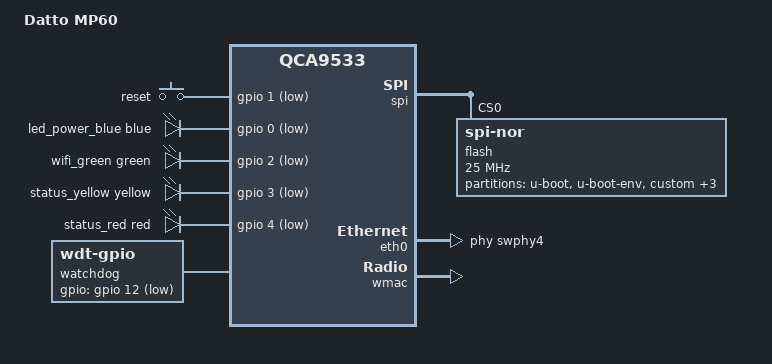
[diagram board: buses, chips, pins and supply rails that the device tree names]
// SPDX-License-Identifier: GPL-2.0-or-later OR MIT

#include "qca953x.dtsi"

#include <dt-bindings/gpio/gpio.h>
#include <dt-bindings/input/input.h>
#include <dt-bindings/leds/common.h>

/ {
	compatible = "datto,mp60", "qca,qca9533";
	model = "Datto MP60";

	chosen {
		/delete-property/ bootargs;
	};

	aliases {
		serial0 = &uart;
		label-mac-device = &eth0;
		led-boot = &led_power_blue;
		led-failsafe = &led_power_blue;
		led-running = &led_power_blue;
		led-upgrade = &led_power_blue;
	};

	keys {
		compatible = "gpio-keys";
		pinctrl-names = "default";
		pinctrl-0 = <&jtag_disable_pins>;

		reset {
			label = "reset";
			linux,code = <KEY_RESTART>;
			gpios = <&gpio 1 GPIO_ACTIVE_LOW>;
			debounce-interval = <5>;
		};
	};

	leds {
		compatible = "gpio-leds";

		led_power_blue: power_blue {
			function = LED_FUNCTION_POWER;
			color = <LED_COLOR_ID_BLUE>;
			gpios = <&gpio 0 GPIO_ACTIVE_LOW>;
			default-state = "on";
		};

		wifi_green {
			function = LED_FUNCTION_WLAN;
			color = <LED_COLOR_ID_GREEN>;
			gpios = <&gpio 2 GPIO_ACTIVE_LOW>;
			linux,default-trigger = "phy0tpt";
		};

		status_yellow {
			function = LED_FUNCTION_STATUS;
			color = <LED_COLOR_ID_YELLOW>;
			gpios = <&gpio 3 GPIO_ACTIVE_LOW>;
		};

		status_red {
			function = LED_FUNCTION_STATUS;
			color = <LED_COLOR_ID_RED>;
			gpios = <&gpio 4 GPIO_ACTIVE_LOW>;
		};
	};

	watchdog {
		compatible = "linux,wdt-gpio";
		gpios = <&gpio 12 GPIO_ACTIVE_LOW>;
		hw_algo = "toggle";
		/* The hardware margin is 300s; the driver limits it to 60s. */
		hw_margin_ms = <60000>;
		always-running;
	};
};

&gpio {
	pinctrl-names = "default";
	pinctrl-0 = <&mp60_i2c_pins>;
};

&pinmux {
	mp60_i2c_pins: pinmux-mp60-i2c {
		/* Legacy P60 setup selects GPIO function 0 on GPIO11 and GPIO14.
		 * mp60d uses these pins directly with the GPIO-v2 character device. */
		pinctrl-single,bits = <0x08 0x0 0xff000000>,
				      <0x0c 0x0 0x00ff0000>;
	};
};

&spi {
	status = "okay";

	flash@0 {
		compatible = "jedec,spi-nor";
		reg = <0>;
		spi-max-frequency = <25000000>;

		partitions {
			compatible = "fixed-partitions";
			#address-cells = <1>;
			#size-cells = <1>;

			partition@0 {
				label = "u-boot";
				reg = <0x000000 0x040000>;
				read-only;
			};

			partition@40000 {
				label = "u-boot-env";
				reg = <0x040000 0x040000>;
			};

			partition@80000 {
				label = "custom";
				reg = <0x080000 0x140000>;
				read-only;
			};

			partition@1c0000 {
				label = "inactive";
				reg = <0x1c0000 0x700000>;
			};

			partition@8c0000 {
				label = "inactive2";
				reg = <0x8c0000 0x700000>;
			};

			partition@fc0000 {
				label = "ART";
				reg = <0xfc0000 0x040000>;
				read-only;

				nvmem-layout {
					compatible = "fixed-layout";
					#address-cells = <1>;
					#size-cells = <1>;

					macaddr_art_0: macaddr@0 {
						compatible = "mac-base";
						reg = <0x0 0x6>;
						#nvmem-cell-cells = <1>;
					};

					cal_art_1000: calibration@1000 {
						reg = <0x1000 0x440>;
					};
				};
			};
		};
	};
};

&eth0 {
	status = "okay";

	phy-handle = <&swphy4>;

	nvmem-cells = <&macaddr_art_0 0>;
	nvmem-cell-names = "mac-address";
};

&eth1 {
	/* Keep MDIO/switch topology without probing the unused fixed-link GMAC.
	 * Otherwise it can claim eth0 before the real PHY4 port at 0x19000000.
	 */
	compatible = "syscon", "simple-mfd";
};

&wdt {
	status = "disabled";
};

&wmac {
	status = "okay";

	nvmem-cells = <&macaddr_art_0 2>, <&cal_art_1000>;
	nvmem-cell-names = "mac-address", "calibration";
};
